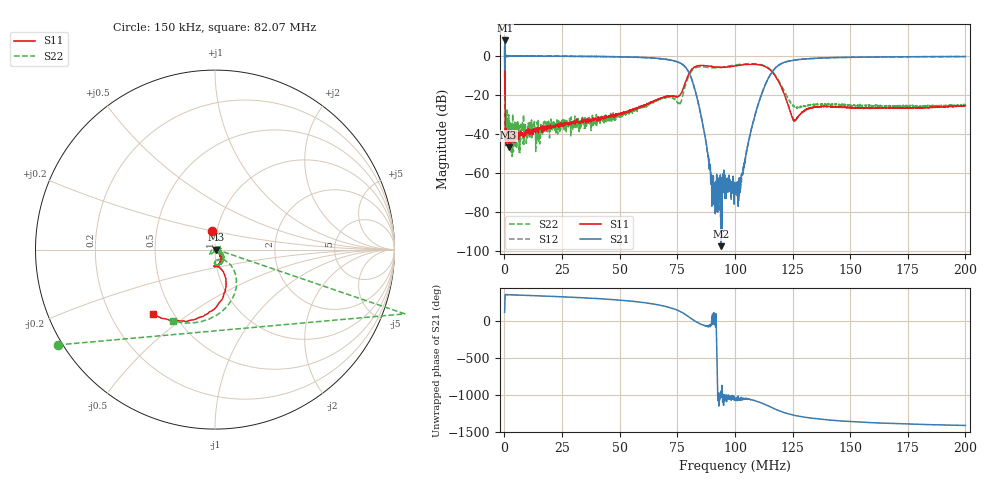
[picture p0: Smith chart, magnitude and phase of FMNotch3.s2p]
! 19-Feb-26 2:28:40 PM
! E:\VNA_MEASUREMENTS\RECBLOCK\FMNOTCH3.S2P
! CHANNEL.1
! TR.MEASUREMENT
! CORRECTED.DATA
# GHZ S RI R 50.0
! FREQ.GHZ  S11RE  S11IM  S21RE  S21IM  S12RE  S12IM  S22RE  S22IM
!; PortSelection: Port_12
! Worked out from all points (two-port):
!   2000 points, 50 kHz to 200 MHz, reference 50 ohm
!   highest |S21| = 7.93 dB at 250 kHz (marker M1); lowest = -97.7 dB at 93.87 MHz (marker M2)
!   |S21| within 3 dB of the highest: 230.2 kHz to 287.7 kHz (57.53 kHz wide, 22.2 % of centre)
!   lowest |S11| = -47.0 dB at 1.75 MHz (marker M3), VSWR 1.01, Z = 50.4 - j0.114 ohm
!   |S11| at or under -10 dB: 110.1 kHz to 192.1 kHz (81.98 kHz wide, 54.2 % of centre); 278.3 kHz to 79.69 MHz (79.41 MHz wide, 199 % of centre); 117.3 MHz to end of sweep
!   |S22| runs from -51.6 to 2.8 dB; largest |S21 - S12| = 2.6
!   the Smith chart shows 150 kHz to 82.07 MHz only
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5e-05  -0.0817 1.642  -0.5437 0.9569  -0.2156 0.1793  -0.9454 -1.014
0.00025005  -0.9973 1.02  2.354 -0.8206  0.1446 0.537  1.058 -0.3581
0.001350325  0.00771 -0.00188  1.018 -0.0264  0.9926 -0.0334  0.0253 0.000243
0.001750425  0.00434 -0.00113  0.9777 -0.0615  0.989 -0.0371  -0.00407 -0.0155
0.03345835  0.0195 -0.00582  0.7052 -0.6693  0.7117 -0.6675  0.0228 -0.00142
0.05496373  0.03 -0.0278  0.0107 -0.9314  0.0108 -0.9336  0.0344 -0.0144
0.06676668  0.0287 -0.0722  -0.6664 -0.5519  -0.66 -0.5505  0.0408 -0.0587
0.07606901  0.0188 -0.0949  -0.4536 0.4831  -0.4528 0.4842  0.0207 -0.0562
0.08027006  -0.0545 -0.3636  0.2174 0.2746  0.2175 0.273  0.0574 -0.3263
0.08507126  -0.5581 0.1116  0.0259 -0.0219  0.0256 -0.0219  -0.522 0.0511
0.09057264  0.1614 0.5012  0.000678 -0.000493  0.000358 -7.49e-05  0.211 0.4464
0.09387346  0.5021 0.1093  -8.1e-06 1.02e-05  0.00054 0.000382  0.5071 0.0112
0.100075  -0.0478 -0.5522  0.000278 1.65e-05  0.000443 9.55e-05  -0.0928 -0.5776
0.1021755  -0.3494 -0.4607  0.000307 3.26e-05  0.000348 0.000175  -0.3764 -0.4761
0.1065766  -0.5984 0.1119  0.00892 0.00305  0.00918 0.00273  -0.6238 0.0639
0.1111778  -0.1384 0.563  0.0797 -0.0397  0.0795 -0.0402  -0.2337 0.548
0.1152788  0.341 0.2759  0.0416 -0.3216  0.0413 -0.3215  0.276 0.3604
0.1189797  0.2072 -0.0581  -0.4102 -0.4074  -0.4114 -0.4075  0.2347 0.0127
0.1255814  0.0224 -0.00415  -0.7392 0.2376  -0.7404 0.2323  0.0521 -0.000818
0.1333833  0.0426 0.0172  -0.4529 0.7242  -0.4565 0.7289  0.0543 0.00743
0.1666917  0.0362 -0.0299  0.5814 0.7485  0.5745 0.7412  0.0301 -0.0394
0.2  0.0267 -0.0453  0.8841 0.3878  0.8829 0.3855  0.0134 -0.0552
